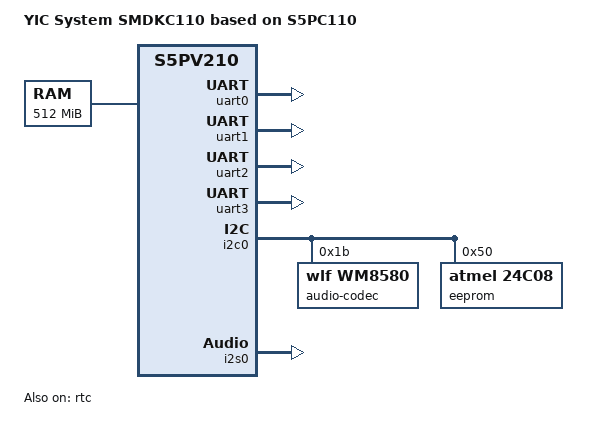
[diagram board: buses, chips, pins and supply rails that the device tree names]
/dts-v1/;
#include <dt-bindings/input/input.h>
#include "s5pv210.dtsi"
/ {
	model = "YIC System SMDKC110 based on S5PC110";
	compatible = "yic,smdkc110", "samsung,s5pv210";
	chosen {
		bootargs = "console=ttySAC0,115200n8 root=/dev/mmcblk0p1 rw rootwait ignore_loglevel earlyprintk";
	};
	memory@20000000 {
		device_type = "memory";
		reg = <0x20000000 0x20000000>;
	};
	pmic_ap_clk: clock-0 {
		compatible = "fixed-clock";
		#clock-cells = <0>;
		clock-frequency = <32768>;
	};
};
&xusbxti {
	clock-frequency = <24000000>;
};
&uart0 {
	status = "okay";
};
&uart1 {
	status = "okay";
};
&uart2 {
	status = "okay";
};
&uart3 {
	status = "okay";
};
&rtc {
	status = "okay";
	clocks = <&clocks CLK_RTC>, <&pmic_ap_clk>;
	clock-names = "rtc", "rtc_src";
};
&i2c0 {
	status = "okay";
	audio-codec@1b {
		compatible = "wlf,wm8580";
		reg = <0x1b>;
	};
	eeprom@50 {
		compatible = "atmel,24c08";
		reg = <0x50>;
	};
};
&i2s0 {
	status = "okay";
};
